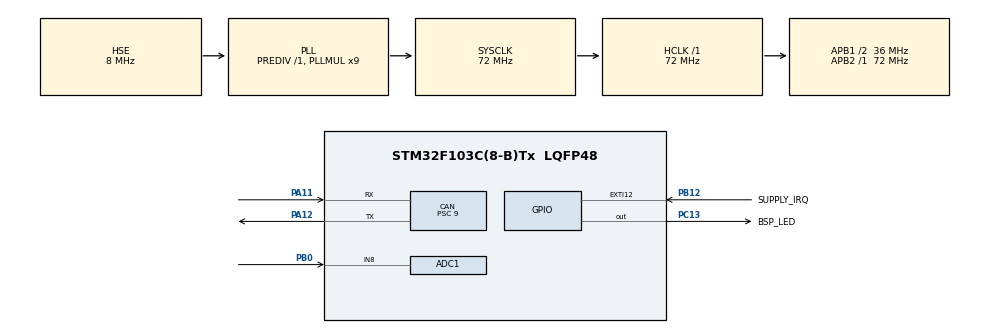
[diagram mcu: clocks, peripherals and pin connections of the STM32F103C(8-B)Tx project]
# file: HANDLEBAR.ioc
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ADC1.Channel-0\#ChannelRegularConversion=ADC_CHANNEL_8
ADC1.ContinuousConvMode=ENABLE
ADC1.NbrOfConversion=1
ADC1.NbrOfConversionFlag=1
ADC1.Rank-0\#ChannelRegularConversion=1
ADC1.SamplingTime-0\#ChannelRegularConversion=ADC_SAMPLETIME_1CYCLE_5
ADC1.master=1
CAN.ABOM=ENABLE
CAN.BS1=CAN_BS1_6TQ
CAN.CalculateTimeBit=2000
CAN.CalculateTimeQuantum=250.0
CAN.Mode=CAN_MODE_NORMAL
CAN.Prescaler=9
Dma.ADC1.0.Direction=DMA_PERIPH_TO_MEMORY
Dma.ADC1.0.Instance=DMA1_Channel1
Dma.ADC1.0.MemDataAlignment=DMA_MDATAALIGN_HALFWORD
Dma.ADC1.0.MemInc=DMA_MINC_ENABLE
Dma.ADC1.0.Mode=DMA_CIRCULAR
Dma.ADC1.0.PeriphDataAlignment=DMA_PDATAALIGN_HALFWORD
Dma.ADC1.0.PeriphInc=DMA_PINC_DISABLE
Dma.ADC1.0.Priority=DMA_PRIORITY_LOW
Dma.Request0=ADC1
FREERTOS.INCLUDE_vTaskDelayUntil=1
FREERTOS.Mutexes01=SwvMutex,Dynamic,NULL;CanTxMutex,Dynamic,NULL
FREERTOS.Tasks01=CanTxTask,3,128,StartCanTxTask,Default,NULL,Dynamic,NULL,NULL;CanRxTask,2,128,StartCanRxTask,Default,NULL,Dynamic,NULL,NULL
FREERTOS.configCHECK_FOR_STACK_OVERFLOW=2
FREERTOS.configTIMER_TASK_PRIORITY=6
FREERTOS.configTIMER_TASK_STACK_DEPTH=128
FREERTOS.configTOTAL_HEAP_SIZE=7000
FREERTOS.configUSE_IDLE_HOOK=1
FREERTOS.configUSE_MALLOC_FAILED_HOOK=1
FREERTOS.configUSE_TIMERS=0
IWDG.Prescaler=IWDG_PRESCALER_32
Mcu.Family=STM32F1
Mcu.Name=STM32F103C(8-B)Tx
Mcu.Package=LQFP48
NVIC.DMA1_Channel1_IRQn=true\:5\:0\:false\:false\:true\:true\:false\:true
NVIC.EXTI15_10_IRQn=true\:5\:0\:false\:false\:true\:true\:true\:true
NVIC.PriorityGroup=NVIC_PRIORITYGROUP_4
NVIC.TIM4_IRQn=true\:0\:0\:false\:false\:true\:false\:false\:true
NVIC.TimeBase=TIM4_IRQn
NVIC.TimeBaseIP=TIM4
NVIC.USB_LP_CAN1_RX0_IRQn=true\:5\:0\:false\:false\:true\:true\:true\:true
PA11.Mode=Master
PA11.Signal=CAN_RX
PA12.Mode=Master
PA12.Signal=CAN_TX
PA13.Mode=Trace_Asynchronous_SW
PA13.Signal=SYS_JTMS-SWDIO
PA14.Mode=Trace_Asynchronous_SW
PA14.Signal=SYS_JTCK-SWCLK
PB0.Signal=ADCx_IN8
PB12.GPIO_Label=SUPPLY_IRQ
PB12.GPIO_ModeDefaultEXTI=GPIO_MODE_IT_RISING_FALLING
PB12.Signal=GPXTI12
PB3.Mode=Trace_Asynchronous_SW
PB3.Signal=SYS_JTDO-TRACESWO
PC13-TAMPER-RTC.GPIO_Label=BSP_LED
PC13-TAMPER-RTC.Signal=GPIO_Output
PD0-OSC_IN.Mode=HSE-External-Oscillator
PD0-OSC_IN.Signal=RCC_OSC_IN
PD1-OSC_OUT.Mode=HSE-External-Oscillator
PD1-OSC_OUT.Signal=RCC_OSC_OUT
ProjectManager.HeapSize=0x200
ProjectManager.StackSize=0x400
ProjectManager.TargetToolchain=STM32CubeIDE
RCC.ADCPresc=RCC_ADCPCLK2_DIV6
RCC.AHBFreq_Value=72000000
RCC.APB1CLKDivider=RCC_HCLK_DIV2
RCC.APB1Freq_Value=36000000
RCC.APB1TimFreq_Value=72000000
RCC.APB2Freq_Value=72000000
RCC.APB2TimFreq_Value=72000000
RCC.HCLKFreq_Value=72000000
RCC.PLLMUL=RCC_PLL_MUL9
RCC.PLLSourceVirtual=RCC_PLLSOURCE_HSE
RCC.RTCClockSelection=RCC_RTCCLKSOURCE_LSE
RCC.SYSCLKFreq_VALUE=72000000
RCC.SYSCLKSource=RCC_SYSCLKSOURCE_PLLCLK
RCC.USBFreq_Value=72000000
SH.ADCx_IN8.0=ADC1_IN8,IN8
VP_FREERTOS_VS_CMSIS_V1.Mode=CMSIS_V1
VP_IWDG_VS_IWDG.Mode=IWDG_Activate
VP_SYS_VS_tim4.Mode=TIM4
board=custom

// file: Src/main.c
/* USER CODE BEGIN Header */
/**
 ******************************************************************************
 * @file           : main.c
 * @brief          : Main program body
 ******************************************************************************
 * @attention
 *
 * <h2><center>&copy; Copyright (c) 2019 STMicroelectronics.
 * All rights reserved.</center></h2>
 *
 * This software component is licensed by ST under BSD 3-Clause license,
 * the "License"; You may not use this file except in compliance with the
 * License. You may obtain a copy of the License at:
 *                        opensource.org/licenses/BSD-3-Clause
 *
 ******************************************************************************
 */
/* USER CODE END Header */

#include "main.h"
#include "cmsis_os.h"

/* USER CODE BEGIN Includes */
#include "limits.h"
#include "_DMA_Throttle.h"
#include "_canbus.h"
#include "_config.h"
#include "_database.h"
/* USER CODE END Includes */

ADC_HandleTypeDef hadc1;
DMA_HandleTypeDef hdma_adc1;

CAN_HandleTypeDef hcan;

IWDG_HandleTypeDef hiwdg;

osThreadId CanTxTaskHandle;
osThreadId CanRxTaskHandle;
osMutexId SwvMutexHandle;
osMutexId CanTxMutexHandle;

void SystemClock_Config(void);
static void MX_GPIO_Init(void);
static void MX_DMA_Init(void);
static void MX_ADC1_Init(void);
static void MX_CAN_Init(void);
static void MX_IWDG_Init(void);
void StartCanTxTask(void const *argument);
void StartCanRxTask(void const *argument);

int main(void)
{

	/* MCU Configuration--------------------------------------------------------*/

	/* Reset of all peripherals, Initializes the Flash interface and the Systick. */
	HAL_Init();

	/* Configure the system clock */
	SystemClock_Config();

	/* Initialize all configured peripherals */
	MX_GPIO_Init();
	MX_DMA_Init();
	MX_ADC1_Init();
	MX_CAN_Init();
	MX_IWDG_Init();
	/* USER CODE BEGIN 2 */
	CAN_Init();
	Throttle_DMA_Init();
	/* USER CODE END 2 */

	/* Create the mutex(es) */
	/* definition and creation of SwvMutex */
	osMutexDef(SwvMutex);
	SwvMutexHandle = osMutexCreate(osMutex(SwvMutex));

	/* definition and creation of CanTxMutex */
	osMutexDef(CanTxMutex);
	CanTxMutexHandle = osMutexCreate(osMutex(CanTxMutex));

	/* Create the thread(s) */
	/* definition and creation of CanTxTask */
	osThreadDef(CanTxTask, StartCanTxTask, osPriorityRealtime, 0, 128);
	CanTxTaskHandle = osThreadCreate(osThread(CanTxTask), NULL);

	/* definition and creation of CanRxTask */
	osThreadDef(CanRxTask, StartCanRxTask, osPriorityHigh, 0, 128);
	CanRxTaskHandle = osThreadCreate(osThread(CanRxTask), NULL);

	/* Start scheduler */
	osKernelStart();

	/* We should never get here as control is now taken by the scheduler */
	/* Infinite loop */
	while (1) {

	}
}

void SystemClock_Config(void)
{
	RCC_OscInitTypeDef RCC_OscInitStruct = { 0 };
	RCC_ClkInitTypeDef RCC_ClkInitStruct = { 0 };
	RCC_PeriphCLKInitTypeDef PeriphClkInit = { 0 };

	/** Initializes the CPU, AHB and APB busses clocks
	 */
	RCC_OscInitStruct.OscillatorType = RCC_OSCILLATORTYPE_LSI | RCC_OSCILLATORTYPE_HSE;
	RCC_OscInitStruct.HSEState = RCC_HSE_ON;
	RCC_OscInitStruct.HSEPredivValue = RCC_HSE_PREDIV_DIV1;
	RCC_OscInitStruct.HSIState = RCC_HSI_ON;
	RCC_OscInitStruct.LSIState = RCC_LSI_ON;
	RCC_OscInitStruct.PLL.PLLState = RCC_PLL_ON;
	RCC_OscInitStruct.PLL.PLLSource = RCC_PLLSOURCE_HSE;
	RCC_OscInitStruct.PLL.PLLMUL = RCC_PLL_MUL9;
	if (HAL_RCC_OscConfig(&RCC_OscInitStruct) != HAL_OK)
			{
		Error_Handler();
	}
	/** Initializes the CPU, AHB and APB busses clocks
	 */
	RCC_ClkInitStruct.ClockType = RCC_CLOCKTYPE_HCLK | RCC_CLOCKTYPE_SYSCLK
			| RCC_CLOCKTYPE_PCLK1 | RCC_CLOCKTYPE_PCLK2;
	RCC_ClkInitStruct.SYSCLKSource = RCC_SYSCLKSOURCE_PLLCLK;
	RCC_ClkInitStruct.AHBCLKDivider = RCC_SYSCLK_DIV1;
	RCC_ClkInitStruct.APB1CLKDivider = RCC_HCLK_DIV2;
	RCC_ClkInitStruct.APB2CLKDivider = RCC_HCLK_DIV1;

	if (HAL_RCC_ClockConfig(&RCC_ClkInitStruct, FLASH_LATENCY_2) != HAL_OK)
			{
		Error_Handler();
	}
	PeriphClkInit.PeriphClockSelection = RCC_PERIPHCLK_ADC;
	PeriphClkInit.AdcClockSelection = RCC_ADCPCLK2_DIV6;
	if (HAL_RCCEx_PeriphCLKConfig(&PeriphClkInit) != HAL_OK)
			{
		Error_Handler();
	}
}

static void MX_ADC1_Init(void)
{

	ADC_ChannelConfTypeDef sConfig = { 0 };

	/** Common config
	 */
	hadc1.Instance = ADC1;
	hadc1.Init.ScanConvMode = ADC_SCAN_DISABLE;
	hadc1.Init.ContinuousConvMode = ENABLE;
	hadc1.Init.DiscontinuousConvMode = DISABLE;
	hadc1.Init.ExternalTrigConv = ADC_SOFTWARE_START;
	hadc1.Init.DataAlign = ADC_DATAALIGN_RIGHT;
	hadc1.Init.NbrOfConversion = 1;
	if (HAL_ADC_Init(&hadc1) != HAL_OK)
			{
		Error_Handler();
	}
	/** Configure Regular Channel
	 */
	sConfig.Channel = ADC_CHANNEL_8;
	sConfig.Rank = ADC_REGULAR_RANK_1;
	sConfig.SamplingTime = ADC_SAMPLETIME_1CYCLE_5;
	if (HAL_ADC_ConfigChannel(&hadc1, &sConfig) != HAL_OK)
			{
		Error_Handler();
	}

}

static void MX_CAN_Init(void)
{

	hcan.Instance = CAN1;
	hcan.Init.Prescaler = 9;
	hcan.Init.Mode = CAN_MODE_NORMAL;
	hcan.Init.SyncJumpWidth = CAN_SJW_1TQ;
	hcan.Init.TimeSeg1 = CAN_BS1_6TQ;
	hcan.Init.TimeSeg2 = CAN_BS2_1TQ;
	hcan.Init.TimeTriggeredMode = DISABLE;
	hcan.Init.AutoBusOff = ENABLE;
	hcan.Init.AutoWakeUp = DISABLE;
	hcan.Init.AutoRetransmission = DISABLE;
	hcan.Init.ReceiveFifoLocked = DISABLE;
	hcan.Init.TransmitFifoPriority = DISABLE;
	if (HAL_CAN_Init(&hcan) != HAL_OK)
			{
		Error_Handler();
	}

}

static void MX_IWDG_Init(void)
{

	hiwdg.Instance = IWDG;
	hiwdg.Init.Prescaler = IWDG_PRESCALER_32;
	hiwdg.Init.Reload = 4095;
	if (HAL_IWDG_Init(&hiwdg) != HAL_OK)
			{
		Error_Handler();
	}

}

static void MX_DMA_Init(void)
{

	/* DMA controller clock enable */
	__HAL_RCC_DMA1_CLK_ENABLE();

	/* DMA interrupt init */
	/* DMA1_Channel1_IRQn interrupt configuration */
	HAL_NVIC_SetPriority(DMA1_Channel1_IRQn, 5, 0);
	HAL_NVIC_EnableIRQ(DMA1_Channel1_IRQn);

}

static void MX_GPIO_Init(void)
{
	GPIO_InitTypeDef GPIO_InitStruct = { 0 };

	/* GPIO Ports Clock Enable */
	__HAL_RCC_GPIOC_CLK_ENABLE();
	__HAL_RCC_GPIOD_CLK_ENABLE();
	__HAL_RCC_GPIOA_CLK_ENABLE();
	__HAL_RCC_GPIOB_CLK_ENABLE();

	/*Configure GPIO pin Output Level */
	HAL_GPIO_WritePin(BSP_LED_GPIO_Port, BSP_LED_Pin, GPIO_PIN_RESET);

	/*Configure GPIO pin : BSP_LED_Pin */
	GPIO_InitStruct.Pin = BSP_LED_Pin;
	GPIO_InitStruct.Mode = GPIO_MODE_OUTPUT_PP;
	GPIO_InitStruct.Pull = GPIO_NOPULL;
	GPIO_InitStruct.Speed = GPIO_SPEED_FREQ_LOW;
	HAL_GPIO_Init(BSP_LED_GPIO_Port, &GPIO_InitStruct);

	/*Configure GPIO pins : PC14 PC15 */
	GPIO_InitStruct.Pin = GPIO_PIN_14 | GPIO_PIN_15;
	GPIO_InitStruct.Mode = GPIO_MODE_ANALOG;
	HAL_GPIO_Init(GPIOC, &GPIO_InitStruct);

	/*Configure GPIO pins : PA0 PA1 PA2 PA3
	 PA4 PA5 PA6 PA7
	 PA8 PA9 PA10 PA15 */
	GPIO_InitStruct.Pin = GPIO_PIN_0 | GPIO_PIN_1 | GPIO_PIN_2 | GPIO_PIN_3
			| GPIO_PIN_4 | GPIO_PIN_5 | GPIO_PIN_6 | GPIO_PIN_7
			| GPIO_PIN_8 | GPIO_PIN_9 | GPIO_PIN_10 | GPIO_PIN_15;
	GPIO_InitStruct.Mode = GPIO_MODE_ANALOG;
	HAL_GPIO_Init(GPIOA, &GPIO_InitStruct);

	/*Configure GPIO pins : PB1 PB2 PB10 PB11
	 PB13 PB14 PB15 PB4
	 PB5 PB6 PB7 PB8
	 PB9 */
	GPIO_InitStruct.Pin = GPIO_PIN_1 | GPIO_PIN_2 | GPIO_PIN_10 | GPIO_PIN_11
			| GPIO_PIN_13 | GPIO_PIN_14 | GPIO_PIN_15 | GPIO_PIN_4
			| GPIO_PIN_5 | GPIO_PIN_6 | GPIO_PIN_7 | GPIO_PIN_8
			| GPIO_PIN_9;
	GPIO_InitStruct.Mode = GPIO_MODE_ANALOG;
	HAL_GPIO_Init(GPIOB, &GPIO_InitStruct);

	/*Configure GPIO pin : SUPPLY_IRQ_Pin */
	GPIO_InitStruct.Pin = SUPPLY_IRQ_Pin;
	GPIO_InitStruct.Mode = GPIO_MODE_IT_RISING_FALLING;
	GPIO_InitStruct.Pull = GPIO_NOPULL;
	HAL_GPIO_Init(SUPPLY_IRQ_GPIO_Port, &GPIO_InitStruct);

	/* EXTI interrupt init*/
	HAL_NVIC_SetPriority(EXTI15_10_IRQn, 5, 0);
	HAL_NVIC_EnableIRQ(EXTI15_10_IRQn);

}

/* USER CODE BEGIN 4 */
void vApplicationIdleHook(void)
{
	// Feed the dog
	HAL_IWDG_Refresh(&hiwdg);
}
/* USER CODE END 4 */

void StartCanTxTask(void const *argument)
{
	/* USER CODE BEGIN 5 */
	TickType_t xLastWakeTime;
	const TickType_t tick10ms = pdMS_TO_TICKS(10);

	/* Infinite loop */
	xLastWakeTime = xTaskGetTickCount();
	for (;;) {
		CANBUS_MCU_Dummy();
		CANBUS_BMS_Dummy();

		BSP_Led_Toggle();

		// Periodic interval
		vTaskDelayUntil(&xLastWakeTime, tick10ms);
	}
	/* USER CODE END 5 */
}

void StartCanRxTask(void const *argument)
{
	/* USER CODE BEGIN StartCanRxTask */
	uint32_t ulNotifiedValue;

	/* Infinite loop */
	for (;;) {		// check if has new can message
		xTaskNotifyWait(0x00, ULONG_MAX, &ulNotifiedValue, portMAX_DELAY);

		// proceed event
		if ((ulNotifiedValue & EVENT_CAN_RX_IT)) {

		}
	}
	/* USER CODE END StartCanRxTask */
}

void HAL_TIM_PeriodElapsedCallback(TIM_HandleTypeDef *htim)
{
	if (htim->Instance == TIM4) {
		HAL_IncTick();
	}
}

void Error_Handler(void)
{
}

/************************ (C) COPYRIGHT STMicroelectronics *****END OF FILE****/
